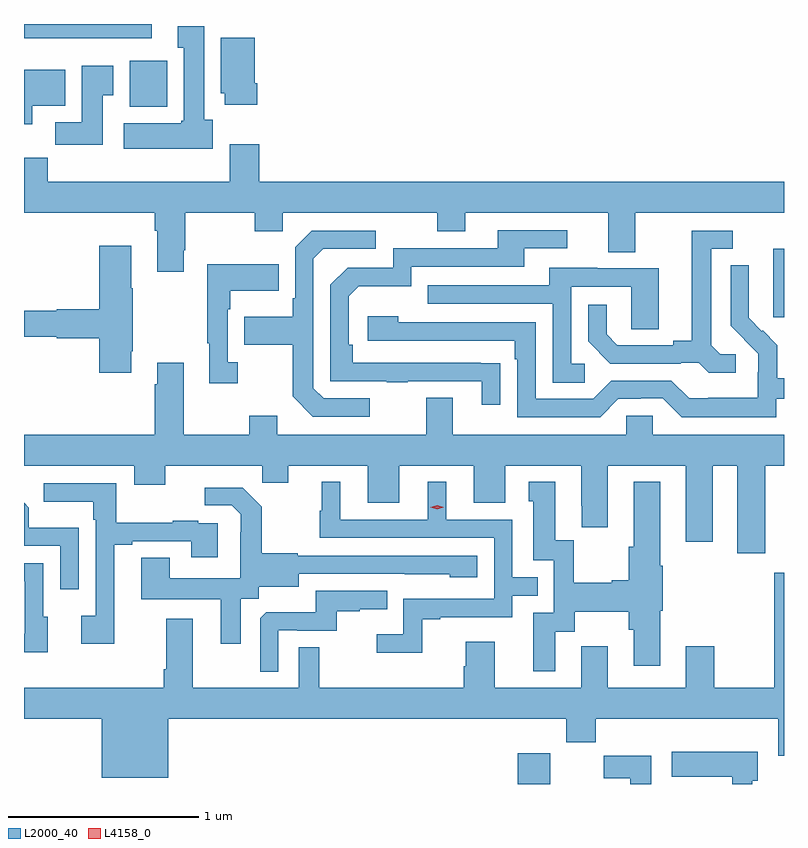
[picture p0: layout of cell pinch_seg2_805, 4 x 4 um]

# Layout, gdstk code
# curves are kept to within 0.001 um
import gdstk
lib = gdstk.Library(unit=1e-6, precision=1e-09)
def R(c, l, rs):  # rectangles x0, y0, x1, y1
    for r in rs: c.add(gdstk.rectangle(r[:2], r[2:], *l))
def P(c, l, *ps):  # polygons
    for p in ps: c.add(gdstk.Polygon(p, *l))
L2000_40 = (2000, 40)
L4158_0 = (4158, 0)

pinch_seg2_805 = lib.new_cell('pinch_seg2_805')
R(pinch_seg2_805, L2000_40, [(690.362,603.337,690.532,603.499), (691.706,605.793,691.763,606.154), (688.319,606.902,688.516,607.144), (687.763,607.262,688.435,607.337)])
P(pinch_seg2_805, L2000_40, [(688.756,606.834),(688.711,606.834),(688.711,607.324),(688.571,607.324),(688.571,607.211),(688.604,607.211),(688.604,606.828),(688.591,606.828),(688.591,606.814),(688.287,606.814),(688.287,606.68),(688.756,606.68)],
  [(688.991,607.024),(688.978,607.024),(688.978,607.264),(688.799,607.264),(688.799,606.972),(688.82,606.972),(688.82,606.912),(688.991,606.912)],
  [(688.177,606.961),(688.234,606.961),(688.234,607.117),(688.067,607.117),(688.067,606.82),(687.928,606.82),(687.928,606.702),(688.177,606.702)],
  [(687.807,606.908),(687.979,606.908),(687.979,607.096),(687.763,607.096),(687.763,606.81),(687.807,606.81)],
  [(688.603,606.145),(688.611,606.145),(688.611,606.344),(688.978,606.344),(688.978,606.245),(689.124,606.245),(689.124,606.344),(689.938,606.344),(689.938,606.245),(690.085,606.245),(690.085,606.344),(690.839,606.344),(690.839,606.136),(690.979,606.136),(690.979,606.344),(691.763,606.344),(691.763,606.508),(689,606.508),(689,606.703),(688.847,606.703),(688.847,606.508),(687.887,606.508),(687.887,606.632),(687.763,606.632),(687.763,606.344),(688.451,606.344),(688.451,606.248),(688.463,606.248),(688.463,606.033),(688.603,606.033)],
  [(690.269,605.552),(689.492,605.553),(689.492,605.65),(689.472,605.65),(689.472,605.904),(689.525,605.957),(689.802,605.957),(689.802,606.06),(690.397,606.06),(690.397,606.156),(690.622,606.156),(690.622,606.252),(690.257,606.252),(690.257,606.156),(689.706,606.156),(689.706,606.054),(689.466,606.054),(689.376,605.964),(689.376,605.457),(689.671,605.457),(689.671,605.452),(689.783,605.452),(689.783,605.457),(690.173,605.457),(690.173,605.334),(690.269,605.334)],
  [(691.51,605.598),(691.428,605.598),(691.381,605.645),(691.381,606.153),(691.492,606.153),(691.492,606.249),(691.277,606.249),(691.277,605.669),(691.181,605.669),(691.181,605.646),(690.886,605.646),(690.829,605.703),(690.829,605.86),(690.732,605.86),(690.732,605.666),(690.848,605.55),(691.22,605.55),(691.22,605.553),(691.314,605.553),(691.366,605.501),(691.51,605.501)],
  [(689.584,605.367),(689.34,605.367),(689.286,605.421),(689.286,606.102),(689.337,606.153),(689.614,606.153),(689.614,606.249),(689.277,606.249),(689.19,606.162),(689.19,605.893),(689.178,605.893),(689.178,605.797),(688.921,605.797),(688.921,605.65),(689.178,605.65),(689.178,605.377),(689.283,605.271),(689.584,605.271)],
  [(688.327,605.614),(688.335,605.614),(688.335,605.945),(688.327,605.945),(688.327,606.169),(688.16,606.169),(688.16,605.836),(687.936,605.836),(687.936,605.828),(687.763,605.828),(687.763,605.692),(687.936,605.692),(687.936,605.684),(688.16,605.684),(688.16,605.502),(688.327,605.502)],
  [(688.888,605.558),(688.836,605.558),(688.836,605.837),(688.849,605.837),(688.849,605.933),(689.105,605.933),(689.105,606.073),(688.728,606.073),(688.728,605.657),(688.739,605.657),(688.739,605.445),(688.888,605.445)],
  [(691.722,605.364),(691.763,605.364),(691.763,605.473),(691.727,605.473),(691.727,605.647),(691.65,605.724),(691.647,605.721),(691.577,605.792),(691.578,606.068),(691.482,606.068),(691.482,605.75),(691.628,605.602),(691.628,605.505),(691.626,605.505),(691.626,605.371),(691.363,605.371),(691.363,605.367),(691.263,605.367),(691.17,605.46),(690.855,605.46),(690.759,605.364),(690.456,605.364),(690.456,605.766),(689.732,605.766),(689.732,605.8),(689.571,605.8),(689.571,605.67),(690.347,605.67),(690.347,605.573),(690.36,605.573),(690.36,605.268),(690.795,605.268),(690.891,605.364),(691.01,605.364),(691.01,605.367),(691.125,605.367),(691.225,605.267),(691.722,605.267)],
  [(690.715,605.55),(690.642,605.55),(690.642,605.955),(690.96,605.955),(690.96,605.731),(691.105,605.731),(691.105,606.051),(690.781,606.051),(690.781,606.055),(690.527,606.055),(690.527,605.961),(689.887,605.961),(689.887,605.865),(690.546,605.865),(690.546,605.449),(690.715,605.449)],
  [(688.507,605.012),(689.017,605.012),(689.017,604.922),(689.155,604.922),(689.155,605.012),(689.573,605.012),(689.573,604.818),(689.737,604.818),(689.737,605.012),(690.131,605.012),(690.131,604.818),(690.295,604.818),(690.295,605.012),(690.695,605.012),(690.695,604.801),(690.698,604.801),(690.698,604.689),(690.835,604.689),(690.835,605.012),(691.247,605.012),(691.247,604.611),(691.387,604.611),(691.387,605.012),(691.517,605.012),(691.517,604.551),(691.665,604.551),(691.665,605.012),(691.763,605.012),(691.763,605.176),(691.071,605.176),(691.071,605.274),(690.933,605.274),(690.933,605.176),(690.019,605.176),(690.019,605.371),(689.879,605.371),(689.879,605.176),(689.095,605.176),(689.095,605.275),(688.948,605.275),(688.948,605.176),(688.603,605.176),(688.603,605.554),(688.463,605.554),(688.463,605.441),(688.451,605.441),(688.451,605.176),(687.763,605.176),(687.763,605.012),(688.343,605.012),(688.343,604.913),(688.507,604.913)],
  [(690.559,604.138),(690.661,604.138),(690.661,604.244),(690.946,604.244),(690.946,604.149),(690.971,604.149),(690.971,603.96),(691.111,603.96),(691.111,604.248),(691.124,604.248),(691.124,604.485),(691.111,604.485),(691.111,604.927),(690.971,604.927),(690.971,604.585),(690.946,604.585),(690.946,604.409),(690.857,604.409),(690.857,604.396),(690.657,604.396),(690.657,604.619),(690.559,604.619),(690.559,604.927),(690.419,604.927),(690.419,604.824),(690.443,604.824),(690.443,604.515),(690.552,604.515),(690.552,604.239),(690.443,604.239),(690.443,603.93),(690.559,603.93)],
  [(689.859,604.203),(689.953,604.203),(689.953,604.215),(690.333,604.215),(690.333,604.329),(690.467,604.329),(690.467,604.425),(690.333,604.425),(690.333,604.728),(689.986,604.728),(689.986,604.927),(689.888,604.927),(689.888,604.728),(689.428,604.728),(689.428,604.927),(689.33,604.927),(689.33,604.776),(689.319,604.776),(689.319,604.632),(690.237,604.632),(690.237,604.311),(689.76,604.311),(689.76,604.126),(689.619,604.126),(689.619,604.028),(689.859,604.028)],
  [(688.237,604.596),(688.333,604.596),(688.333,604.614),(688.643,604.614),(688.643,604.53),(688.783,604.53),(688.783,604.71),(688.679,604.71),(688.679,604.723),(688.547,604.723),(688.547,604.712),(688.249,604.712),(688.249,604.92),(687.867,604.92),(687.867,604.823),(688.128,604.823),(688.128,604.727),(688.14,604.727),(688.14,604.222),(688.065,604.222),(688.065,604.074),(688.237,604.074)],
  [(688.903,604.312),(688.998,604.312),(688.998,604.376),(689.209,604.376),(689.209,604.443),(690.003,604.442),(690.003,604.424),(690.148,604.424),(690.148,604.539),(689.205,604.539),(689.205,604.552),(689.013,604.552),(689.013,604.797),(688.913,604.897),(688.713,604.897),(688.713,604.803),(688.857,604.803),(688.904,604.756),(688.904,604.661),(688.902,604.661),(688.902,604.42),(688.531,604.42),(688.531,604.529),(688.379,604.529),(688.379,604.31),(688.799,604.31),(688.799,604.074),(688.903,604.074)],
  [(688.05,604.687),(687.789,604.687),(687.789,604.79),(687.763,604.816),(687.763,604.59),(687.954,604.59),(687.954,604.362),(688.05,604.362)],
  [(687.889,604.218),(687.864,604.218),(687.864,604.5),(687.763,604.5),(687.763,604.404),(687.768,604.404),(687.768,604.128),(687.763,604.128),(687.763,604.031),(687.889,604.031)],
  [(688.522,603.68),(690.617,603.68),(690.617,603.556),(690.773,603.556),(690.773,603.68),(691.733,603.68),(691.733,603.486),(691.763,603.486),(691.763,604.45),(691.712,604.45),(691.712,603.844),(691.395,603.844),(691.395,604.063),(691.247,604.063),(691.247,603.844),(690.835,603.844),(690.835,604.063),(690.695,604.063),(690.695,603.844),(690.241,603.844),(690.241,604.087),(690.089,604.087),(690.089,603.957),(690.077,603.957),(690.077,603.844),(689.317,603.844),(689.317,604.058),(689.208,604.058),(689.208,603.844),(688.651,603.844),(688.651,604.207),(688.511,604.207),(688.511,603.94),(688.499,603.94),(688.499,603.844),(687.763,603.844),(687.763,603.68),(688.172,603.68),(688.172,603.371),(688.522,603.371)],
  [(689.1,604.146),(689.2,604.146),(689.2,604.143),(689.408,604.143),(689.408,604.245),(689.531,604.245),(689.531,604.256),(689.675,604.256),(689.675,604.353),(689.298,604.353),(689.298,604.241),(689.039,604.241),(689.007,604.209),(689.007,603.929),(689.1,603.929)],
  [(691.597,603.354),(691.624,603.354),(691.624,603.508),(691.173,603.508),(691.173,603.374),(691.49,603.374),(691.49,603.337),(691.597,603.337)],
  [(691.063,603.487),(690.814,603.487),(690.814,603.368),(690.953,603.368),(690.953,603.337),(691.063,603.337)])
P(pinch_seg2_805, L4158_0, [(689.937,604.783),(689.901,604.793),(689.901,604.793),(689.901,604.793),(689.937,604.803),(689.973,604.793),(689.973,604.793),(689.973,604.793)])

lib.write_gds('pinch_seg2_805.gds')
